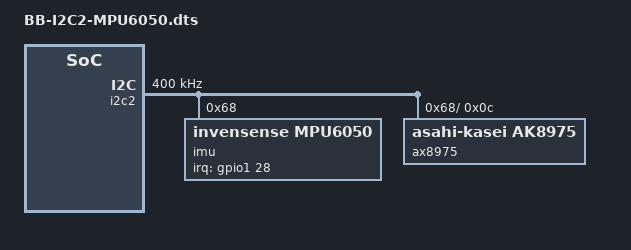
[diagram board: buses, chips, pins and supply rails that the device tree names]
// SPDX-License-Identifier: GPL-2.0-only
/*
 * Copyright (C) 2022 Robert Nelson <robertcnelson@gmail.com>
 */

/dts-v1/;
/plugin/;

#include <dt-bindings/pinctrl/am33xx.h>
#include <dt-bindings/gpio/gpio.h>
#include <dt-bindings/interrupt-controller/irq.h>

/*
 * Helper to show loaded overlays under: /proc/device-tree/chosen/overlays/
 */
&{/chosen} {
	overlays {
		BB-I2C2-MPU6050.kernel = __TIMESTAMP__;
	};
};

/*
 * Free up the pins used by the cape from the pinmux helpers.
 */
&ocp {
	P9_12_pinmux { status = "disabled"; };	/* rtc: gpio0_49 */
};

&am33xx_pinmux {
	bb_i2c2_pins: pinmux_bb_i2c2_pins {
		pinctrl-single,pins = <
			AM33XX_PADCONF(AM335X_PIN_UART1_CTSN, PIN_INPUT_PULLUP, MUX_MODE3)	/* uart1_ctsn.i2c2_sda */
			AM33XX_PADCONF(AM335X_PIN_UART1_RTSN, PIN_INPUT_PULLUP, MUX_MODE3)	/* uart1_rtsn.i2c2_scl */
		>;
	};

	bb_gpio9_12_pins: pinmux_bb_gpio9_12_pins {
		pinctrl-single,pins = <
			AM33XX_PADCONF(AM335X_PIN_GPMC_BEN1, PIN_INPUT, MUX_MODE7) /* gpio1_28 */
		>;
	};
};

&i2c2 {
	status = "okay";
	pinctrl-names = "default";
	pinctrl-0 = <&bb_i2c2_pins &bb_gpio9_12_pins>;

	clock-frequency = <400000>;

	#address-cells = <1>;
	#size-cells = <0>;

	imu@68 {
		compatible = "invensense,mpu6050";
		reg = <0x68>;
		interrupt-parent = <&gpio1>;
		interrupts = <28 IRQ_TYPE_EDGE_RISING>;
		i2c-gate {
			#address-cells = <1>;
			#size-cells = <0>;
			ax8975@c {
				compatible = "asahi-kasei,ak8975";
				reg = <0x0c>;
			};
		};
	};
};
